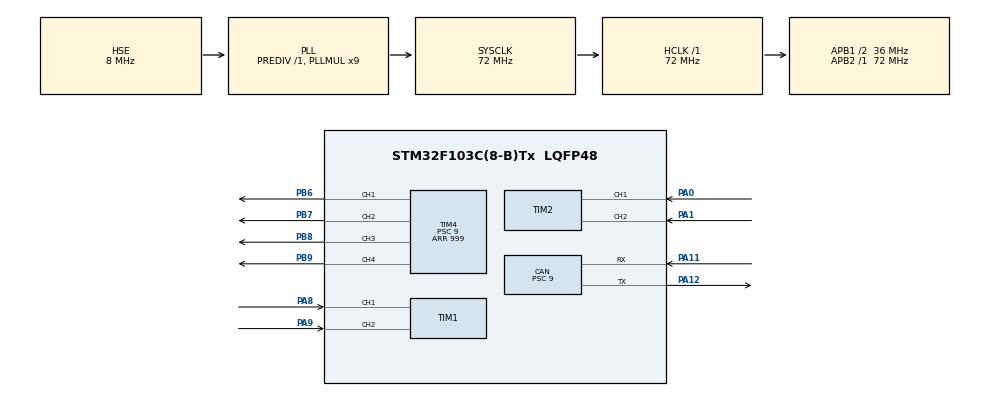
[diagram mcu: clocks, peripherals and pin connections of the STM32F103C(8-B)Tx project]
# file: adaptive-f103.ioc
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CAN.BS1=CAN_BS1_2TQ
CAN.CalculateBaudRate=1000000
CAN.CalculateTimeBit=1000
CAN.CalculateTimeQuantum=250.0
CAN.Prescaler=9
Mcu.Family=STM32F1
Mcu.Name=STM32F103C(8-B)Tx
Mcu.Package=LQFP48
NVIC.CAN1_RX1_IRQn=true\:0\:0\:false\:false\:true\:true\:true\:true
NVIC.PriorityGroup=NVIC_PRIORITYGROUP_4
PA0-WKUP.Signal=S_TIM2_CH1_ETR
PA1.Signal=S_TIM2_CH2
PA11.Mode=CAN_Activate
PA11.Signal=CAN_RX
PA12.Mode=CAN_Activate
PA12.Signal=CAN_TX
PA13.Mode=Serial_Wire
PA13.Signal=SYS_JTMS-SWDIO
PA14.Mode=Serial_Wire
PA14.Signal=SYS_JTCK-SWCLK
PA8.Signal=S_TIM1_CH1
PA9.Signal=S_TIM1_CH2
PB6.Signal=S_TIM4_CH1
PB7.Signal=S_TIM4_CH2
PB8.Signal=S_TIM4_CH3
PB9.Signal=S_TIM4_CH4
PD0-OSC_IN.Mode=HSE-External-Oscillator
PD0-OSC_IN.Signal=RCC_OSC_IN
PD1-OSC_OUT.Mode=HSE-External-Oscillator
PD1-OSC_OUT.Signal=RCC_OSC_OUT
ProjectManager.HeapSize=0x200
ProjectManager.StackSize=0x400
ProjectManager.TargetToolchain=STM32CubeIDE
RCC.AHBFreq_Value=72000000
RCC.APB1CLKDivider=RCC_HCLK_DIV2
RCC.APB1Freq_Value=36000000
RCC.APB1TimFreq_Value=72000000
RCC.APB2Freq_Value=72000000
RCC.APB2TimFreq_Value=72000000
RCC.HCLKFreq_Value=72000000
RCC.PLLMUL=RCC_PLL_MUL9
RCC.PLLSourceVirtual=RCC_PLLSOURCE_HSE
RCC.SYSCLKFreq_VALUE=72000000
RCC.SYSCLKSource=RCC_SYSCLKSOURCE_PLLCLK
RCC.USBFreq_Value=72000000
SH.S_TIM1_CH1.0=TIM1_CH1,Encoder_Interface
SH.S_TIM1_CH2.0=TIM1_CH2,Encoder_Interface
SH.S_TIM2_CH1_ETR.0=TIM2_CH1,Encoder_Interface
SH.S_TIM2_CH2.0=TIM2_CH2,Encoder_Interface
SH.S_TIM4_CH1.0=TIM4_CH1,PWM Generation1 CH1
SH.S_TIM4_CH2.0=TIM4_CH2,PWM Generation2 CH2
SH.S_TIM4_CH3.0=TIM4_CH3,PWM Generation3 CH3
SH.S_TIM4_CH4.0=TIM4_CH4,PWM Generation4 CH4
STMicroelectronics.X-CUBE-ALGOBUILD.1.3.0.LibraryCcDSPOoLibraryJjDSPOoLibrary=true
TIM1.AutoReloadPreload=TIM_AUTORELOAD_PRELOAD_ENABLE
TIM1.EncoderMode=TIM_ENCODERMODE_TI12
TIM2.AutoReloadPreload=TIM_AUTORELOAD_PRELOAD_ENABLE
TIM2.EncoderMode=TIM_ENCODERMODE_TI12
TIM4.Channel-PWM\ Generation1\ CH1=TIM_CHANNEL_1
TIM4.Channel-PWM\ Generation2\ CH2=TIM_CHANNEL_2
TIM4.Channel-PWM\ Generation3\ CH3=TIM_CHANNEL_3
TIM4.Channel-PWM\ Generation4\ CH4=TIM_CHANNEL_4
TIM4.Period=999
TIM4.Prescaler=9
VP_STMicroelectronics.X-CUBE-ALGOBUILD_VS_DSPOoLibraryJjLibrary_1.3.0_1.3.0.Mode=DSPOoLibraryJjLibrary
VP_TIM4_VS_ClockSourceINT.Mode=Internal
board=custom

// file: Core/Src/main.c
/* USER CODE BEGIN Header */
/**
  ******************************************************************************
  * @file           : main.c
  * @brief          : Main program body
  ******************************************************************************
  * @attention
  *
  * Copyright (c) 2024 STMicroelectronics.
  * All rights reserved.
  *
  * This software is licensed under terms that can be found in the LICENSE file
  * in the root directory of this software component.
  * If no LICENSE file comes with this software, it is provided AS-IS.
  *
  ******************************************************************************
  */
/* USER CODE END Header */
#include "main.h"

/* USER CODE BEGIN Includes */

// Motor Control Params
#define MAX_RPM 1000
#define PWM_PERIOD 1000

volatile int32_t encoderValue1 = 0;
volatile int32_t encoderValue2 = 0;
volatile int16_t prevEncoderRaw1 = 0;
volatile int16_t prevEncoderRaw2 = 0;

volatile int16_t motor_speed1 = 0;
volatile int16_t motor_speed2 = 0;
volatile uint8_t updateMotors = 0;

// CANBUS Params
#define CAN_RX_DESIRED_SPEED_ID 0x100
#define CAN_TX_ENCODER_VALUE_ID 0x200

uint8_t TxData[8];
uint8_t RxData[8];
uint32_t TxMailBox;

extern int32_t desired_speed_rpm;

int16_t rpmToPwm(int16_t rpm)
{
    // Conversion
    int32_t pwm = (int32_t)rpm * (PWM_PERIOD - 1) / MAX_RPM;
    if (pwm > (PWM_PERIOD - 1)) pwm = PWM_PERIOD - 1;
    else if (pwm < -(PWM_PERIOD - 1)) pwm = -(PWM_PERIOD - 1);

    return (int16_t)pwm;
}

/* USER CODE END Includes */

/* USER CODE BEGIN PD */
void updateEncoderValue(void);

void SetMotorSpeed(uint8_t speed);
void SetMotorDirection(uint8_t direction);

void updateMotorControl(void);

/* USER CODE END PD */

CAN_HandleTypeDef hcan;

TIM_HandleTypeDef htim1;
TIM_HandleTypeDef htim2;
TIM_HandleTypeDef htim4;

void SystemClock_Config(void);
static void MX_GPIO_Init(void);
static void MX_TIM2_Init(void);
static void MX_CAN_Init(void);
static void MX_TIM1_Init(void);
static void MX_TIM4_Init(void);

int main(void)
{

  /* MCU Configuration--------------------------------------------------------*/

  /* Reset of all peripherals, Initializes the Flash interface and the Systick. */
  HAL_Init();

  /* Configure the system clock */
  SystemClock_Config();

  /* Initialize all configured peripherals */
  MX_GPIO_Init();
  MX_TIM2_Init();
  MX_CAN_Init();
  MX_TIM1_Init();
  MX_TIM4_Init();
  /* USER CODE BEGIN 2 */
  HAL_TIM_Encoder_Start(&htim1, TIM_CHANNEL_ALL);
  HAL_TIM_Encoder_Start(&htim2, TIM_CHANNEL_ALL);

  HAL_TIM_PWM_Start(&htim4, TIM_CHANNEL_1 | TIM_CHANNEL_2 | TIM_CHANNEL_3 | TIM_CHANNEL_4);

  /* USER CODE END 2 */

  /* Infinite loop */
  while (1)
  {

    /* USER CODE BEGIN 3 */
	updateEncoderValue();

	// PWM

	updateMotorControl();

	HAL_Delay(10);
  }
  /* USER CODE END 3 */
}

void SystemClock_Config(void)
{
  RCC_OscInitTypeDef RCC_OscInitStruct = {0};
  RCC_ClkInitTypeDef RCC_ClkInitStruct = {0};

  /** Initializes the RCC Oscillators according to the specified parameters
  * in the RCC_OscInitTypeDef structure.
  */
  RCC_OscInitStruct.OscillatorType = RCC_OSCILLATORTYPE_HSE;
  RCC_OscInitStruct.HSEState = RCC_HSE_ON;
  RCC_OscInitStruct.HSEPredivValue = RCC_HSE_PREDIV_DIV1;
  RCC_OscInitStruct.HSIState = RCC_HSI_ON;
  RCC_OscInitStruct.PLL.PLLState = RCC_PLL_ON;
  RCC_OscInitStruct.PLL.PLLSource = RCC_PLLSOURCE_HSE;
  RCC_OscInitStruct.PLL.PLLMUL = RCC_PLL_MUL9;
  if (HAL_RCC_OscConfig(&RCC_OscInitStruct) != HAL_OK)
  {
    Error_Handler();
  }

  /** Initializes the CPU, AHB and APB buses clocks
  */
  RCC_ClkInitStruct.ClockType = RCC_CLOCKTYPE_HCLK|RCC_CLOCKTYPE_SYSCLK
                              |RCC_CLOCKTYPE_PCLK1|RCC_CLOCKTYPE_PCLK2;
  RCC_ClkInitStruct.SYSCLKSource = RCC_SYSCLKSOURCE_PLLCLK;
  RCC_ClkInitStruct.AHBCLKDivider = RCC_SYSCLK_DIV1;
  RCC_ClkInitStruct.APB1CLKDivider = RCC_HCLK_DIV2;
  RCC_ClkInitStruct.APB2CLKDivider = RCC_HCLK_DIV1;

  if (HAL_RCC_ClockConfig(&RCC_ClkInitStruct, FLASH_LATENCY_2) != HAL_OK)
  {
    Error_Handler();
  }
}

static void MX_CAN_Init(void)
{

  hcan.Instance = CAN1;
  hcan.Init.Prescaler = 9;
  hcan.Init.Mode = CAN_MODE_NORMAL;
  hcan.Init.SyncJumpWidth = CAN_SJW_1TQ;
  hcan.Init.TimeSeg1 = CAN_BS1_2TQ;
  hcan.Init.TimeSeg2 = CAN_BS2_1TQ;
  hcan.Init.TimeTriggeredMode = DISABLE;
  hcan.Init.AutoBusOff = DISABLE;
  hcan.Init.AutoWakeUp = DISABLE;
  hcan.Init.AutoRetransmission = DISABLE;
  hcan.Init.ReceiveFifoLocked = DISABLE;
  hcan.Init.TransmitFifoPriority = DISABLE;
  if (HAL_CAN_Init(&hcan) != HAL_OK)
  {
    Error_Handler();
  }

}

static void MX_TIM1_Init(void)
{

  TIM_Encoder_InitTypeDef sConfig = {0};
  TIM_MasterConfigTypeDef sMasterConfig = {0};

  htim1.Instance = TIM1;
  htim1.Init.Prescaler = 0;
  htim1.Init.CounterMode = TIM_COUNTERMODE_UP;
  htim1.Init.Period = 65535;
  htim1.Init.ClockDivision = TIM_CLOCKDIVISION_DIV1;
  htim1.Init.RepetitionCounter = 0;
  htim1.Init.AutoReloadPreload = TIM_AUTORELOAD_PRELOAD_ENABLE;
  sConfig.EncoderMode = TIM_ENCODERMODE_TI12;
  sConfig.IC1Polarity = TIM_ICPOLARITY_RISING;
  sConfig.IC1Selection = TIM_ICSELECTION_DIRECTTI;
  sConfig.IC1Prescaler = TIM_ICPSC_DIV1;
  sConfig.IC1Filter = 0;
  sConfig.IC2Polarity = TIM_ICPOLARITY_RISING;
  sConfig.IC2Selection = TIM_ICSELECTION_DIRECTTI;
  sConfig.IC2Prescaler = TIM_ICPSC_DIV1;
  sConfig.IC2Filter = 0;
  if (HAL_TIM_Encoder_Init(&htim1, &sConfig) != HAL_OK)
  {
    Error_Handler();
  }
  sMasterConfig.MasterOutputTrigger = TIM_TRGO_RESET;
  sMasterConfig.MasterSlaveMode = TIM_MASTERSLAVEMODE_DISABLE;
  if (HAL_TIMEx_MasterConfigSynchronization(&htim1, &sMasterConfig) != HAL_OK)
  {
    Error_Handler();
  }

}

static void MX_TIM2_Init(void)
{

  TIM_Encoder_InitTypeDef sConfig = {0};
  TIM_MasterConfigTypeDef sMasterConfig = {0};

  htim2.Instance = TIM2;
  htim2.Init.Prescaler = 0;
  htim2.Init.CounterMode = TIM_COUNTERMODE_UP;
  htim2.Init.Period = 65535;
  htim2.Init.ClockDivision = TIM_CLOCKDIVISION_DIV1;
  htim2.Init.AutoReloadPreload = TIM_AUTORELOAD_PRELOAD_ENABLE;
  sConfig.EncoderMode = TIM_ENCODERMODE_TI12;
  sConfig.IC1Polarity = TIM_ICPOLARITY_RISING;
  sConfig.IC1Selection = TIM_ICSELECTION_DIRECTTI;
  sConfig.IC1Prescaler = TIM_ICPSC_DIV1;
  sConfig.IC1Filter = 0;
  sConfig.IC2Polarity = TIM_ICPOLARITY_RISING;
  sConfig.IC2Selection = TIM_ICSELECTION_DIRECTTI;
  sConfig.IC2Prescaler = TIM_ICPSC_DIV1;
  sConfig.IC2Filter = 0;
  if (HAL_TIM_Encoder_Init(&htim2, &sConfig) != HAL_OK)
  {
    Error_Handler();
  }
  sMasterConfig.MasterOutputTrigger = TIM_TRGO_RESET;
  sMasterConfig.MasterSlaveMode = TIM_MASTERSLAVEMODE_DISABLE;
  if (HAL_TIMEx_MasterConfigSynchronization(&htim2, &sMasterConfig) != HAL_OK)
  {
    Error_Handler();
  }

}

static void MX_TIM4_Init(void)
{

  TIM_ClockConfigTypeDef sClockSourceConfig = {0};
  TIM_MasterConfigTypeDef sMasterConfig = {0};
  TIM_OC_InitTypeDef sConfigOC = {0};

  htim4.Instance = TIM4;
  htim4.Init.Prescaler = 9;
  htim4.Init.CounterMode = TIM_COUNTERMODE_UP;
  htim4.Init.Period = 999;
  htim4.Init.ClockDivision = TIM_CLOCKDIVISION_DIV1;
  htim4.Init.AutoReloadPreload = TIM_AUTORELOAD_PRELOAD_DISABLE;
  if (HAL_TIM_Base_Init(&htim4) != HAL_OK)
  {
    Error_Handler();
  }
  sClockSourceConfig.ClockSource = TIM_CLOCKSOURCE_INTERNAL;
  if (HAL_TIM_ConfigClockSource(&htim4, &sClockSourceConfig) != HAL_OK)
  {
    Error_Handler();
  }
  if (HAL_TIM_PWM_Init(&htim4) != HAL_OK)
  {
    Error_Handler();
  }
  sMasterConfig.MasterOutputTrigger = TIM_TRGO_RESET;
  sMasterConfig.MasterSlaveMode = TIM_MASTERSLAVEMODE_DISABLE;
  if (HAL_TIMEx_MasterConfigSynchronization(&htim4, &sMasterConfig) != HAL_OK)
  {
    Error_Handler();
  }
  sConfigOC.OCMode = TIM_OCMODE_PWM1;
  sConfigOC.Pulse = 0;
  sConfigOC.OCPolarity = TIM_OCPOLARITY_HIGH;
  sConfigOC.OCFastMode = TIM_OCFAST_DISABLE;
  if (HAL_TIM_PWM_ConfigChannel(&htim4, &sConfigOC, TIM_CHANNEL_1) != HAL_OK)
  {
    Error_Handler();
  }
  if (HAL_TIM_PWM_ConfigChannel(&htim4, &sConfigOC, TIM_CHANNEL_2) != HAL_OK)
  {
    Error_Handler();
  }
  if (HAL_TIM_PWM_ConfigChannel(&htim4, &sConfigOC, TIM_CHANNEL_3) != HAL_OK)
  {
    Error_Handler();
  }
  if (HAL_TIM_PWM_ConfigChannel(&htim4, &sConfigOC, TIM_CHANNEL_4) != HAL_OK)
  {
    Error_Handler();
  }
  HAL_TIM_MspPostInit(&htim4);

}

static void MX_GPIO_Init(void)
{

  /* GPIO Ports Clock Enable */
  __HAL_RCC_GPIOD_CLK_ENABLE();
  __HAL_RCC_GPIOA_CLK_ENABLE();
  __HAL_RCC_GPIOB_CLK_ENABLE();

}

/* USER CODE BEGIN 4 */
void updateEncoderValue(void)
{
	int16_t currentEncoderRaw1 = (int16_t)__HAL_TIM_GET_COUNTER(&htim1);
	int16_t currentEncoderRaw2 = (int16_t)__HAL_TIM_GET_COUNTER(&htim2);

	int16_t diff1 = currentEncoderRaw1 - prevEncoderRaw1;
	int16_t diff2 = currentEncoderRaw2 - prevEncoderRaw2;

	encoderValue1 += diff1;
	encoderValue2 += diff2;

	prevEncoderRaw1 = currentEncoderRaw1;
	prevEncoderRaw2 = currentEncoderRaw2;

}

void updateMotorControl(void)
{
	// Motor 1
	int16_t pwm1 = rpmToPwm(motor_speed1);

	if (pwm1 >=0)
	{
		TIM4->CCR1 = pwm1;
		TIM4->CCR2 = 0;
	}
	else
	{
		TIM4->CCR1 = 0;
		TIM4->CCR2 = pwm1;
	}

	// Motor 2
	int16_t pwm2 = rpmToPwm(motor_speed2);

	if (pwm2 >=0)
	{
		TIM4->CCR3 = pwm2;
		TIM4->CCR4 = 0;
	}
	else
	{
		TIM4->CCR3 = 0;
		TIM4->CCR4 = pwm2;
	}
}

/* USER CODE END 4 */

void Error_Handler(void)
{
  __disable_irq();
  while (1)
  {
  }
}
